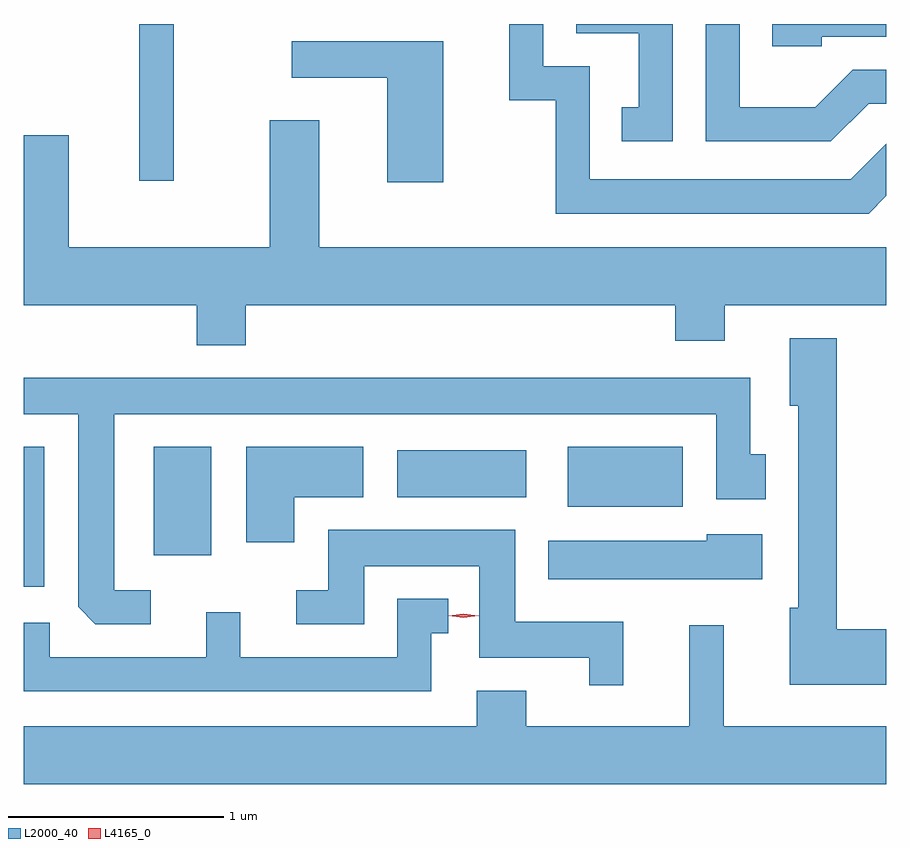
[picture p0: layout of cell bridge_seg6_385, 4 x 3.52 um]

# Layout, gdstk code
import gdstk
lib = gdstk.Library(unit=1e-6, precision=1e-09)
def R(c, l, rs):  # rectangles x0, y0, x1, y1
    for r in rs: c.add(gdstk.rectangle(r[:2], r[2:], *l))
def P(c, l, *ps):  # polygons
    for p in ps: c.add(gdstk.Polygon(p, *l))
L2000_40 = (2000, 40)
L4165_0 = (4165, 0)

bridge_seg6_385 = lib.new_cell('bridge_seg6_385')
R(bridge_seg6_385, L2000_40, [(923.239,1648.631,923.334,1649.279), (923.841,1648.776,924.109,1649.279), (925.761,1649.001,926.294,1649.279), (924.971,1649.046,925.569,1649.264), (923.776,1650.513,923.934,1651.24)])
P(bridge_seg6_385, L2000_40, [(926.249,1651.24),(925.801,1651.24),(925.801,1651.196),(926.091,1651.196),(926.091,1650.854),(926.013,1650.854),(926.013,1650.696),(926.249,1650.696)],
  [(927.157,1650.871),(927.239,1650.871),(927.239,1651.029),(927.084,1651.029),(926.909,1650.854),(926.559,1650.854),(926.559,1651.24),(926.401,1651.24),(926.401,1650.696),(926.982,1650.696)],
  [(927.239,1650.443),(927.239,1650.684),(927.074,1650.519),(925.864,1650.519),(925.864,1651.044),(925.649,1651.044),(925.649,1651.24),(925.491,1651.24),(925.491,1650.886),(925.706,1650.886),(925.706,1650.361),(927.157,1650.361)],
  [(926.939,1651.181),(927.239,1651.181),(927.239,1651.24),(926.711,1651.24),(926.711,1651.136),(926.939,1651.136)],
  [(925.184,1651.159),(924.483,1651.159),(924.483,1650.991),(924.926,1650.991),(924.926,1650.506),(925.184,1650.506)],
  [(924.269,1649.936),(926.261,1649.936),(926.261,1649.771),(926.489,1649.771),(926.489,1649.936),(927.239,1649.936),(927.239,1650.204),(924.609,1650.204),(924.609,1650.794),(924.381,1650.794),(924.381,1650.204),(923.449,1650.204),(923.449,1650.724),(923.239,1650.724),(923.239,1649.936),(924.041,1649.936),(924.041,1649.751),(924.269,1649.751)],
  [(927.239,1648.434),(927.009,1648.434),(927.009,1649.784),(926.791,1649.784),(926.791,1649.471),(926.831,1649.471),(926.831,1648.534),(926.791,1648.534),(926.791,1648.176),(927.239,1648.176)],
  [(923.828,1648.614),(923.659,1648.614),(923.659,1649.431),(926.451,1649.431),(926.451,1649.036),(926.679,1649.036),(926.679,1649.244),(926.609,1649.244),(926.609,1649.599),(923.239,1649.599),(923.239,1649.431),(923.491,1649.431),(923.491,1648.537),(923.572,1648.456),(923.828,1648.456)],
  [(924.494,1649.046),(924.814,1649.046),(924.814,1649.279),(924.271,1649.279),(924.271,1648.836),(924.494,1648.836)],
  [(926.019,1648.469),(925.519,1648.469),(925.519,1648.894),(924.651,1648.894),(924.651,1648.614),(924.503,1648.614),(924.503,1648.456),(924.819,1648.456),(924.819,1648.726),(925.351,1648.726),(925.351,1648.301),(925.861,1648.301),(925.861,1648.173),(926.019,1648.173)],
  [(926.664,1648.874),(926.406,1648.874),(926.406,1648.844),(925.671,1648.844),(925.671,1648.666),(926.664,1648.666)],
  [(925.129,1648.416),(925.208,1648.416),(925.208,1648.574),(924.971,1648.574),(924.971,1648.304),(924.244,1648.304),(924.244,1648.513),(924.086,1648.513),(924.086,1648.304),(923.359,1648.304),(923.359,1648.464),(923.239,1648.464),(923.239,1648.146),(925.129,1648.146)],
  [(927.239,1647.984),(926.484,1647.984),(926.484,1648.453),(926.326,1648.453),(926.326,1647.984),(925.569,1647.984),(925.569,1648.149),(925.341,1648.149),(925.341,1647.984),(923.239,1647.984),(923.239,1647.716),(927.239,1647.716)])
P(bridge_seg6_385, L4165_0, [(925.278,1648.487),(925.209,1648.496),(925.209,1648.496),(925.209,1648.497),(925.278,1648.506),(925.348,1648.497),(925.348,1648.497),(925.348,1648.496)])

lib.write_gds('bridge_seg6_385.gds')
